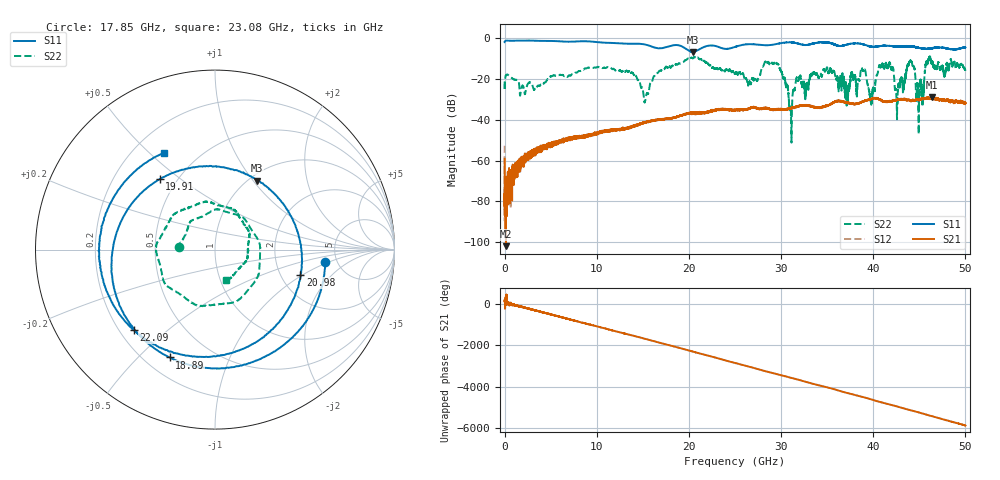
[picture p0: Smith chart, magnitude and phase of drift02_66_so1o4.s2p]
!Created with skrf (http://scikit-rf.org).
# Hz S RI R 50.0
!freq ReS11 ImS11 ReS21 ImS21 ReS12 ImS12 ReS22 ImS22
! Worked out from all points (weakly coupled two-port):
!   10001 points, 300 kHz to 50 GHz, reference 50 ohm
!   highest |S21| = -28.95 dB at 46.42 GHz (marker M1); lowest = -101.8 dB at 145.3 MHz (marker M2)
!   lowest |S11| = -6.9 dB at 20.41 GHz (marker M3), VSWR 2.64, Z = 54.3 + j52.4 ohm
!   |S11| at or under -10 dB: nowhere
!   |S22| runs from -51.3 to -9.2 dB; largest |S21 - S12| = 0.0035
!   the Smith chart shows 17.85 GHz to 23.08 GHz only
!   S11 on the Smith chart (normalised r, x): 17.85 GHz: 4.03, -0.88; 18.89 GHz: 0.30, -0.62; 19.91 GHz: 0.40, +0.42; 20.98 GHz: 2.56, -0.96; 22.09 GHz: 0.26, -0.39; 23.08 GHz: 0.32, +0.56
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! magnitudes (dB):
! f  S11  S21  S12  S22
! 300 kHz  -2.1  -59.2  -52.8  -21.5
! 145.3 MHz  -1.5  -101.8  -76.8  -18.3
! 8.335 GHz  -1.7  -48.2  -48.9  -15.7
! 15.32 GHz  -3.4  -41.2  -41.4  -29.2
! 16.67 GHz  -5.2  -40.2  -40.0  -17.0
! 17.85 GHz  -4.2  -39.5  -39.5  -13.8
! 18.89 GHz  -3.7  -38.4  -38.4  -12.5
! 19.91 GHz  -6.0  -37.1  -37.0  -10.1
! 20.41 GHz  -6.9  -37.0  -36.6  -10.0
! 20.98 GHz  -6.1  -37.2  -36.7  -9.7
! 22.09 GHz  -3.9  -36.3  -36.3  -12.9
! 23.08 GHz  -4.3  -35.1  -35.1  -15.0
! 25 GHz  -4.5  -35.2  -35.2  -17.5
! 29.51 GHz  -3.1  -34.9  -35.1  -12.7
! 31.03 GHz  -2.2  -34.3  -34.6  -35.3
! 33.34 GHz  -3.0  -33.6  -33.7  -17.9
! 39.76 GHz  -4.3  -30.0  -30.1  -30.0
! 41.67 GHz  -3.9  -31.0  -31.1  -13.4
! 44.18 GHz  -4.3  -30.8  -30.8  -12.2
! 44.85 GHz  -4.7  -30.3  -30.1  -23.3
! 46.42 GHz  -5.0  -29.0  -29.1  -11.6
! 50 GHz  -4.7  -31.9  -31.8  -16.1
